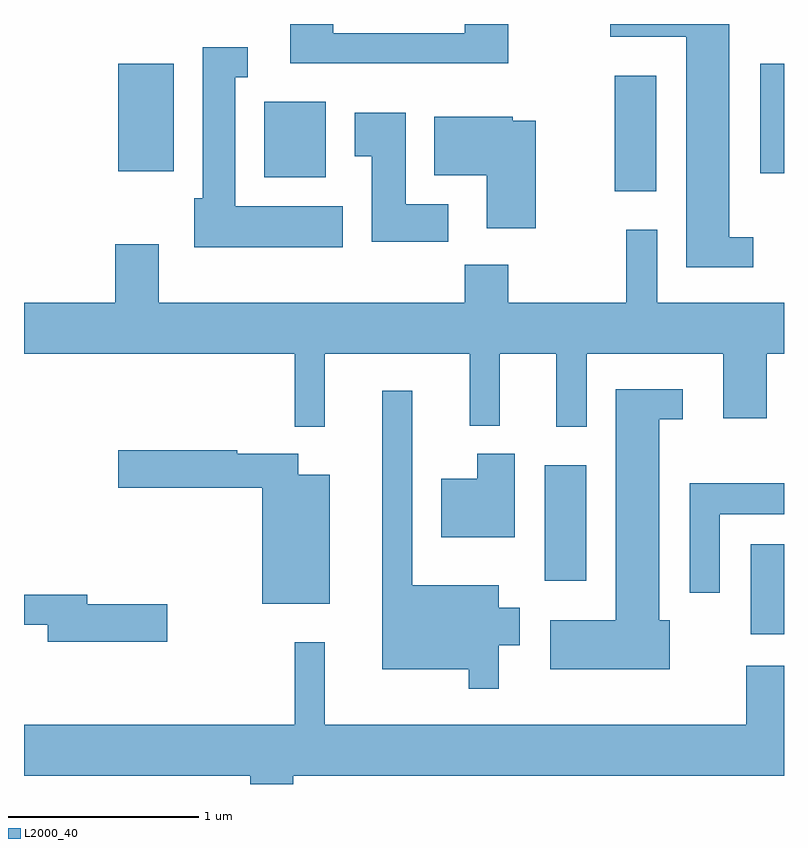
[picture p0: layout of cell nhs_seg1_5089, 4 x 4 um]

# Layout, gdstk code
import gdstk
lib = gdstk.Library(unit=1e-6, precision=1e-09)
def R(c, l, rs):  # rectangles x0, y0, x1, y1
    for r in rs: c.add(gdstk.rectangle(r[:2], r[2:], *l))
def P(c, l, *ps):  # polygons
    for p in ps: c.add(gdstk.Polygon(p, *l))
L2000_40 = (2000, 40)

nhs_seg1_5089 = lib.new_cell('nhs_seg1_5089')
R(nhs_seg1_5089, L2000_40, [(341.436,942.501,341.611,942.974), (340.351,942.781,340.569,943.389), (340.721,944.831,340.939,945.439), (338.876,944.906,339.199,945.304), (341.486,944.926,341.611,945.503), (338.106,944.936,338.399,945.504)])
P(nhs_seg1_5089, L2000_40, [(340.159,945.712),(339.931,945.712),(339.931,945.664),(339.239,945.664),(339.239,945.712),(339.011,945.712),(339.011,945.506),(340.159,945.506)],
  [(341.448,944.589),(341.324,944.589),(341.324,945.712),(340.696,945.712),(340.696,945.646),(341.096,945.646),(341.096,944.431),(341.448,944.431)],
  [(339.289,944.754),(338.724,944.754),(338.724,945.431),(338.788,945.431),(338.788,945.589),(338.551,945.589),(338.551,944.794),(338.506,944.794),(338.506,944.536),(339.289,944.536)],
  [(339.844,944.764),(339.619,944.764),(339.619,945.244),(339.351,945.244),(339.351,945.016),(339.441,945.016),(339.441,944.566),(339.844,944.566)],
  [(340.304,945.204),(340.184,945.204),(340.184,945.224),(339.771,945.224),(339.771,944.916),(340.046,944.916),(340.046,944.636),(340.304,944.636)],
  [(339.931,944.244),(338.319,944.244),(338.319,944.554),(338.091,944.554),(338.091,944.244),(337.611,944.244),(337.611,943.976),(339.036,943.976),(339.036,943.593),(339.194,943.593),(339.194,943.976),(339.956,943.976),(339.956,943.598),(340.114,943.598),(340.114,943.976),(340.411,943.976),(340.411,943.593),(340.574,943.593),(340.574,943.976),(341.291,943.976),(341.291,943.636),(341.519,943.636),(341.519,943.976),(341.611,943.976),(341.611,944.244),(340.944,944.244),(340.944,944.628),(340.781,944.628),(340.781,944.244),(340.159,944.244),(340.159,944.444),(339.931,944.444)],
  [(341.009,942.574),(340.954,942.574),(340.954,943.631),(341.078,943.631),(341.078,943.789),(340.726,943.789),(340.726,942.574),(340.381,942.574),(340.381,942.316),(341.009,942.316)],
  [(340.109,942.441),(340.219,942.441),(340.219,942.639),(340.109,942.639),(340.109,942.759),(339.654,942.759),(339.654,943.783),(339.496,943.783),(339.496,942.316),(339.951,942.316),(339.951,942.213),(340.109,942.213)],
  [(339.219,943.339),(339.054,943.339),(339.054,943.449),(338.734,943.449),(338.734,943.469),(338.106,943.469),(338.106,943.271),(338.866,943.271),(338.866,942.661),(339.219,942.661)],
  [(340.194,943.449),(339.996,943.449),(339.996,943.319),(339.806,943.319),(339.806,943.011),(340.194,943.011)],
  [(341.274,943.131),(341.611,943.131),(341.611,943.294),(341.116,943.294),(341.116,942.718),(341.274,942.718)],
  [(338.364,942.659),(337.944,942.659),(337.944,942.709),(337.611,942.709),(337.611,942.551),(337.736,942.551),(337.736,942.461),(338.364,942.461)],
  [(339.029,941.756),(341.611,941.756),(341.611,942.334),(341.411,942.334),(341.411,942.024),(339.194,942.024),(339.194,942.458),(339.036,942.458),(339.036,942.024),(337.611,942.024),(337.611,941.756),(338.801,941.756),(338.801,941.712),(339.029,941.712)])

lib.write_gds('nhs_seg1_5089.gds')
